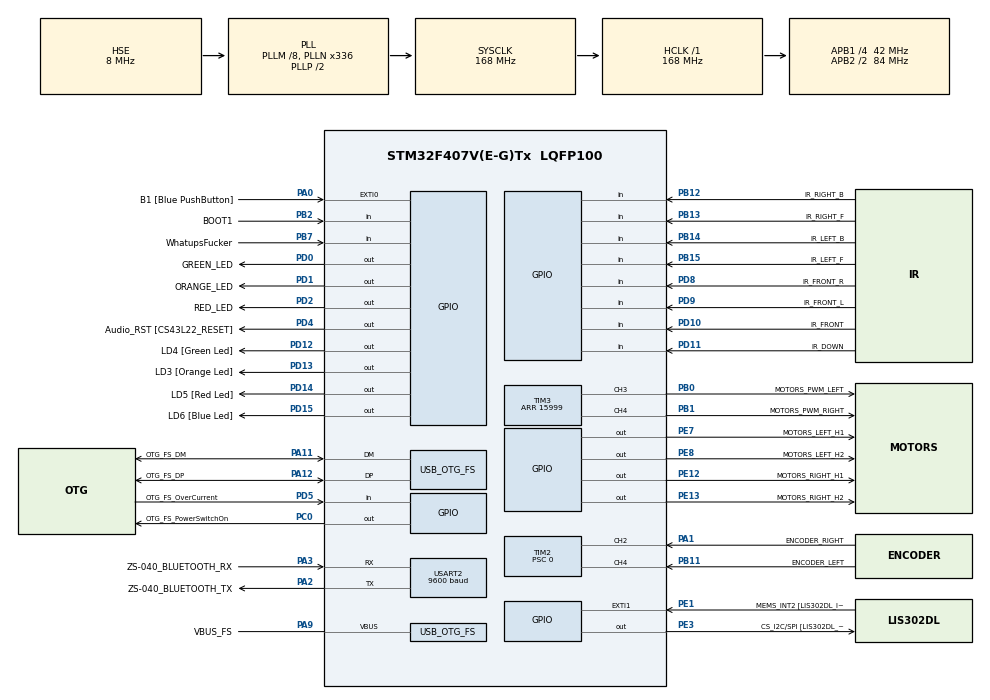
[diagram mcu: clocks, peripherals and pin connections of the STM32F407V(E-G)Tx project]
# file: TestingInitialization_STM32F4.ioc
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Dma.Request0=TIM2_CH2/CH4
Dma.TIM2_CH2/CH4.0.Direction=DMA_PERIPH_TO_MEMORY
Dma.TIM2_CH2/CH4.0.FIFOMode=DMA_FIFOMODE_DISABLE
Dma.TIM2_CH2/CH4.0.Instance=DMA1_Stream6
Dma.TIM2_CH2/CH4.0.MemDataAlignment=DMA_MDATAALIGN_WORD
Dma.TIM2_CH2/CH4.0.MemInc=DMA_MINC_ENABLE
Dma.TIM2_CH2/CH4.0.Mode=DMA_NORMAL
Dma.TIM2_CH2/CH4.0.PeriphDataAlignment=DMA_PDATAALIGN_WORD
Dma.TIM2_CH2/CH4.0.PeriphInc=DMA_PINC_DISABLE
Dma.TIM2_CH2/CH4.0.Priority=DMA_PRIORITY_LOW
FREERTOS.BinarySemaphores01=VCBinarySem01,Dynamic,NULL
FREERTOS.INCLUDE_vTaskDelayUntil=1
FREERTOS.Queues01=myCommandQueue01,2,uint32_t,0,Dynamic,NULL,NULL;myCommandQueue02,2,uint32_t,0,Dynamic,NULL,NULL
FREERTOS.Tasks01=defaultTask,0,128,StartDefaultTask,Default,NULL,Dynamic,NULL,NULL;vehicleMotion,1,128,StartVehicleMotionTask,Default,NULL,Dynamic,NULL,NULL;voiceCommand,1,128,StartVoiceCommandTask,Default,NULL,Dynamic,NULL,NULL;vehicleMotion_P,1,256,StartvehicleMotion_PIDControl,Default,NULL,Dynamic,NULL,NULL;statusLEDS,-1,128,StartstatusLEDSTask,Default,NULL,Dynamic,NULL,NULL;pidEncoders,-3,128,StartpidEncoderTask,Default,NULL,Dynamic,NULL,NULL
FREERTOS.configENABLE_FPU=1
FREERTOS.configQUEUE_REGISTRY_SIZE=2
FREERTOS.configUSE_COUNTING_SEMAPHORES=1
Mcu.Family=STM32F4
Mcu.Name=STM32F407V(E-G)Tx
Mcu.Package=LQFP100
NVIC.DMA1_Stream6_IRQn=true\:5\:0\:false\:false\:true\:true\:false\:true\:true
NVIC.PriorityGroup=NVIC_PRIORITYGROUP_4
NVIC.TIM1_UP_TIM10_IRQn=true\:15\:0\:false\:false\:true\:false\:false\:true\:true
NVIC.TIM2_IRQn=true\:5\:0\:false\:false\:true\:true\:true\:true\:true
NVIC.TimeBase=TIM1_UP_TIM10_IRQn
NVIC.TimeBaseIP=TIM1
NVIC.USART2_IRQn=true\:5\:0\:false\:false\:true\:true\:true\:true\:true
PA0-WKUP.GPIO_Label=B1 [Blue PushButton]
PA0-WKUP.GPIO_ModeDefaultEXTI=GPIO_MODE_EVT_RISING
PA0-WKUP.GPIO_PuPd=GPIO_NOPULL
PA0-WKUP.Signal=GPXTI0
PA1.GPIO_Label=ENCODER_RIGHT
PA1.Signal=S_TIM2_CH2
PA10.Signal=USB_OTG_FS_ID
PA11.GPIO_Label=OTG_FS_DM
PA11.GPIO_Mode=GPIO_MODE_AF_PP
PA11.GPIO_PuPd=GPIO_NOPULL
PA11.GPIO_Speed=GPIO_SPEED_FREQ_LOW
PA11.Mode=Host_Only
PA11.Signal=USB_OTG_FS_DM
PA12.GPIO_Label=OTG_FS_DP
PA12.GPIO_Mode=GPIO_MODE_AF_PP
PA12.GPIO_PuPd=GPIO_NOPULL
PA12.GPIO_Speed=GPIO_SPEED_FREQ_LOW
PA12.Mode=Host_Only
PA12.Signal=USB_OTG_FS_DP
PA13.GPIO_Label=SWDIO
PA13.Mode=JTAG_5_pins
PA13.Signal=SYS_JTMS-SWDIO
PA14.GPIO_Label=SWCLK
PA14.Mode=JTAG_5_pins
PA14.Signal=SYS_JTCK-SWCLK
PA15.Mode=JTAG_5_pins
PA15.Signal=SYS_JTDI
PA2.GPIO_Label=ZS-040_BLUETOOTH_TX
PA2.Mode=Asynchronous
PA2.Signal=USART2_TX
PA3.GPIO_Label=ZS-040_BLUETOOTH_RX
PA3.Mode=Asynchronous
PA3.Signal=USART2_RX
PA4.GPIO_Label=I2S3_WS [CS43L22_LRCK]
PA4.GPIO_Mode=GPIO_MODE_AF_PP
PA4.GPIO_PuPd=GPIO_NOPULL
PA4.GPIO_Speed=GPIO_SPEED_FREQ_LOW
PA4.Signal=I2S3_WS
PA5.GPIO_Label=SPI1_SCK [LIS302DL_SCL/SPC]
PA5.GPIO_Mode=GPIO_MODE_AF_PP
PA5.GPIO_PuPd=GPIO_NOPULL
PA5.GPIO_Speed=GPIO_SPEED_FREQ_LOW
PA5.Signal=SPI1_SCK
PA6.GPIO_Label=SPI1_MISO [LIS302DL_SDO]
PA6.GPIO_Mode=GPIO_MODE_AF_PP
PA6.GPIO_PuPd=GPIO_NOPULL
PA6.GPIO_Speed=GPIO_SPEED_FREQ_LOW
PA6.Signal=SPI1_MISO
PA7.GPIO_Label=SPI1_MOSI [LIS302DL_SDA/SDI/SDO]
PA7.GPIO_Mode=GPIO_MODE_AF_PP
PA7.GPIO_PuPd=GPIO_NOPULL
PA7.GPIO_Speed=GPIO_SPEED_FREQ_LOW
PA7.Signal=SPI1_MOSI
PA9.GPIO_Label=VBUS_FS
PA9.GPIO_Mode=GPIO_MODE_INPUT
PA9.GPIO_PuPd=GPIO_NOPULL
PA9.Mode=Activate_VBUS
PA9.Signal=USB_OTG_FS_VBUS
PB0.GPIO_Label=MOTORS_PWM_LEFT
PB0.Signal=S_TIM3_CH3
PB1.GPIO_Label=MOTORS_PWM_RIGHT
PB1.Signal=S_TIM3_CH4
PB10.GPIO_Label=CLK_IN [MP45DT02_CLK]
PB10.GPIO_Mode=GPIO_MODE_AF_PP
PB10.GPIO_PuPd=GPIO_NOPULL
PB10.GPIO_Speed=GPIO_SPEED_FREQ_LOW
PB10.Signal=I2S2_CK
PB11.GPIO_Label=ENCODER_LEFT
PB11.Signal=S_TIM2_CH4
PB12.GPIO_Label=IR_RIGHT_B
PB12.Signal=GPIO_Input
PB13.GPIO_Label=IR_RIGHT_F
PB13.Signal=GPIO_Input
PB14.GPIO_Label=IR_LEFT_B
PB14.Signal=GPIO_Input
PB15.GPIO_Label=IR_LEFT_F
PB15.Signal=GPIO_Input
PB2.GPIO_Label=BOOT1
PB2.GPIO_Mode=GPIO_MODE_INPUT
PB2.GPIO_PuPd=GPIO_NOPULL
PB2.Signal=GPIO_Input
PB3.GPIO_Label=SWO
PB3.Mode=JTAG_5_pins
PB3.Signal=SYS_JTDO-SWO
PB4.Mode=JTAG_5_pins
PB4.Signal=SYS_JTRST
PB6.GPIO_Label=Audio_SCL [CS43L22_SCL]
PB6.GPIO_Mode=GPIO_MODE_AF_OD
PB6.GPIO_Pu=GPIO_PULLUP
PB6.GPIO_PuPd=GPIO_NOPULL
PB6.GPIO_Speed=GPIO_SPEED_FREQ_LOW
PB6.Signal=I2C1_SCL
PB7.GPIO_Label=WhatupsFucker
PB7.GPIO_PuPd=GPIO_PULLUP
PB7.Signal=GPIO_Input
PB9.GPIO_Label=Audio_SDA [CS43L22_SDA]
PB9.GPIO_Mode=GPIO_MODE_AF_OD
PB9.GPIO_Pu=GPIO_PULLUP
PB9.GPIO_PuPd=GPIO_NOPULL
PB9.GPIO_Speed=GPIO_SPEED_FREQ_LOW
PB9.Signal=I2C1_SDA
PC0.GPIO_Label=OTG_FS_PowerSwitchOn
PC0.GPIO_PuPd=GPIO_NOPULL
PC0.GPIO_Speed=GPIO_SPEED_FREQ_LOW
PC0.PinState=GPIO_PIN_SET
PC0.Signal=GPIO_Output
PC10.GPIO_Label=I2S3_SCK [CS43L22_SCLK]
PC10.GPIO_Mode=GPIO_MODE_AF_PP
PC10.GPIO_PuPd=GPIO_NOPULL
PC10.GPIO_Speed=GPIO_SPEED_FREQ_LOW
PC10.Signal=I2S3_CK
PC12.GPIO_Label=I2S3_SD [CS43L22_SDIN]
PC12.GPIO_Mode=GPIO_MODE_AF_PP
PC12.GPIO_PuPd=GPIO_NOPULL
PC12.GPIO_Speed=GPIO_SPEED_FREQ_LOW
PC12.Signal=I2S3_SD
PC14-OSC32_IN.GPIO_Label=PC14-OSC32_IN
PC14-OSC32_IN.Mode=LSE-External-Oscillator
PC14-OSC32_IN.Signal=RCC_OSC32_IN
PC15-OSC32_OUT.GPIO_Label=PC15-OSC32_OUT
PC15-OSC32_OUT.Mode=LSE-External-Oscillator
PC15-OSC32_OUT.Signal=RCC_OSC32_OUT
PC3.GPIO_Label=PDM_OUT [MP45DT02_DOUT]
PC3.GPIO_Mode=GPIO_MODE_AF_PP
PC3.GPIO_PuPd=GPIO_NOPULL
PC3.GPIO_Speed=GPIO_SPEED_FREQ_LOW
PC3.Signal=I2S2_SD
PC7.GPIO_Label=I2S3_MCK [CS43L22_MCLK]
PC7.GPIO_Mode=GPIO_MODE_AF_PP
PC7.GPIO_PuPd=GPIO_NOPULL
PC7.GPIO_Speed=GPIO_SPEED_FREQ_LOW
PC7.Signal=I2S3_MCK
PD0.GPIO_Label=GREEN_LED
PD0.PinState=GPIO_PIN_RESET
PD0.Signal=GPIO_Output
PD1.GPIO_Label=ORANGE_LED
PD1.Signal=GPIO_Output
PD10.GPIO_Label=IR_FRONT
PD10.Signal=GPIO_Input
PD11.GPIO_Label=IR_DOWN
PD11.Signal=GPIO_Input
PD12.GPIO_Label=LD4 [Green Led]
PD12.GPIO_PuPd=GPIO_NOPULL
PD12.GPIO_Speed=GPIO_SPEED_FREQ_LOW
PD12.Signal=GPIO_Output
PD13.GPIO_Label=LD3 [Orange Led]
PD13.GPIO_PuPd=GPIO_NOPULL
PD13.GPIO_Speed=GPIO_SPEED_FREQ_LOW
PD13.Signal=GPIO_Output
PD14.GPIO_Label=LD5 [Red Led]
PD14.GPIO_PuPd=GPIO_NOPULL
PD14.GPIO_Speed=GPIO_SPEED_FREQ_LOW
PD14.Signal=GPIO_Output
PD15.GPIO_Label=LD6 [Blue Led]
PD15.GPIO_PuPd=GPIO_NOPULL
PD15.GPIO_Speed=GPIO_SPEED_FREQ_LOW
PD15.Signal=GPIO_Output
PD2.GPIO_Label=RED_LED
PD2.Signal=GPIO_Output
PD4.GPIO_Label=Audio_RST [CS43L22_RESET]
PD4.GPIO_PuPd=GPIO_NOPULL
PD4.GPIO_Speed=GPIO_SPEED_FREQ_LOW
PD4.Signal=GPIO_Output
PD5.GPIO_Label=OTG_FS_OverCurrent
PD5.GPIO_Mode=GPIO_MODE_INPUT
PD5.GPIO_PuPd=GPIO_NOPULL
PD5.Signal=GPIO_Input
PD8.GPIO_Label=IR_FRONT_R
PD8.Signal=GPIO_Input
PD9.GPIO_Label=IR_FRONT_L
PD9.Signal=GPIO_Input
PE1.GPIO_Label=MEMS_INT2 [LIS302DL_INT2]
PE1.GPIO_ModeDefaultEXTI=GPIO_MODE_EVT_RISING
PE1.GPIO_PuPd=GPIO_NOPULL
PE1.Signal=GPXTI1
PE12.GPIO_Label=MOTORS_RIGHT_H1
PE12.GPIO_PuPd=GPIO_PULLDOWN
PE12.Signal=GPIO_Output
PE13.GPIO_Label=MOTORS_RIGHT_H2
PE13.GPIO_PuPd=GPIO_PULLDOWN
PE13.Signal=GPIO_Output
PE3.GPIO_Label=CS_I2C/SPI [LIS302DL_CS_I2C/SPI]
PE3.GPIO_PuPd=GPIO_NOPULL
PE3.GPIO_Speed=GPIO_SPEED_FREQ_LOW
PE3.Signal=GPIO_Output
PE7.GPIO_Label=MOTORS_LEFT_H1
PE7.GPIO_PuPd=GPIO_PULLDOWN
PE7.GPIO_Speed=GPIO_SPEED_FREQ_MEDIUM
PE7.PinState=GPIO_PIN_RESET
PE7.Signal=GPIO_Output
PE8.GPIO_Label=MOTORS_LEFT_H2
PE8.GPIO_PuPd=GPIO_PULLDOWN
PE8.GPIO_Speed=GPIO_SPEED_FREQ_MEDIUM
PE8.PinState=GPIO_PIN_RESET
PE8.Signal=GPIO_Output
PH0-OSC_IN.GPIO_Label=PH0-OSC_IN
PH0-OSC_IN.Mode=HSE-External-Oscillator
PH0-OSC_IN.Signal=RCC_OSC_IN
PH1-OSC_OUT.GPIO_Label=PH1-OSC_OUT
PH1-OSC_OUT.Mode=HSE-External-Oscillator
PH1-OSC_OUT.Signal=RCC_OSC_OUT
ProjectManager.HeapSize=0x200
ProjectManager.StackSize=0x400
ProjectManager.TargetToolchain=EWARM V8.50
RCC.48MHZClocksFreq_Value=48000000
RCC.AHBFreq_Value=168000000
RCC.APB1CLKDivider=RCC_HCLK_DIV4
RCC.APB1Freq_Value=42000000
RCC.APB1TimFreq_Value=84000000
RCC.APB2CLKDivider=RCC_HCLK_DIV2
RCC.APB2Freq_Value=84000000
RCC.APB2TimFreq_Value=168000000
RCC.CortexFreq_Value=168000000
RCC.HCLKFreq_Value=168000000
RCC.HSE_VALUE=8000000
RCC.HSI_VALUE=16000000
RCC.PLLM=8
RCC.PLLN=336
RCC.PLLQ=7
RCC.SYSCLKFreq_VALUE=168000000
RCC.SYSCLKSource=RCC_SYSCLKSOURCE_PLLCLK
RCC.VCOOutputFreq_Value=336000000
SH.S_TIM2_CH2.0=TIM2_CH2,Input_Capture2_from_TI2
SH.S_TIM2_CH4.0=TIM2_CH4,Input_Capture4_from_TI4
SH.S_TIM3_CH3.0=TIM3_CH3,PWM Generation3 CH3
SH.S_TIM3_CH4.0=TIM3_CH4,PWM Generation4 CH4
TIM2.AutoReloadPreload=TIM_AUTORELOAD_PRELOAD_DISABLE
TIM2.Channel-Input_Capture2_from_TI2=TIM_CHANNEL_2
TIM2.Channel-Input_Capture4_from_TI4=TIM_CHANNEL_4
TIM2.Prescaler=0
TIM3.Channel-PWM\ Generation3\ CH3=TIM_CHANNEL_3
TIM3.Channel-PWM\ Generation4\ CH4=TIM_CHANNEL_4
TIM3.OCMode_PWM-PWM\ Generation3\ CH3=TIM_OCMODE_PWM2
TIM3.OCMode_PWM-PWM\ Generation4\ CH4=TIM_OCMODE_PWM2
TIM3.OCPolarity_3=TIM_OCPOLARITY_LOW
TIM3.OCPolarity_4=TIM_OCPOLARITY_LOW
TIM3.Period=15999
TIM3.TIM_MasterOutputTrigger=TIM_TRGO_OC1
USART2.BaudRate=9600
USART2.Parity=PARITY_NONE
USART2.VirtualMode=VM_ASYNC
USART2.WordLength=WORDLENGTH_8B
USB_OTG_FS.VirtualMode=Host_Only
USB_OTG_FS.phy_itface=HCD_PHY_EMBEDDED
VP_FREERTOS_VS_CMSIS_V1.Mode=CMSIS_V1
VP_SYS_VS_tim1.Mode=TIM1
VP_TIM2_VS_ClockSourceINT.Mode=Internal
VP_TIM3_VS_ClockSourceINT.Mode=Internal
board=STM32F407G-DISC1

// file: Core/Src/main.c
/* USER CODE BEGIN Header */
/**
  ******************************************************************************
  * @file           : main.c
  * @brief          : Main program body
  ******************************************************************************
  * @attention
  *
  * Copyright (c) 2022 STMicroelectronics.
  * All rights reserved.
  *
  * This software is licensed under terms that can be found in the LICENSE file
  * in the root directory of this software component.
  * If no LICENSE file comes with this software, it is provided AS-IS.
  *
  ******************************************************************************
  */
/* USER CODE END Header */
#include "main.h"
#include "cmsis_os.h"
#include "dma.h"
#include "tim.h"
#include "usart.h"
#include "usb_otg.h"
#include "gpio.h"

void SystemClock_Config(void);
void MX_FREERTOS_Init(void);

int main(void)
{

  /* MCU Configuration--------------------------------------------------------*/

  /* Reset of all peripherals, Initializes the Flash interface and the Systick. */
  HAL_Init();

  /* Configure the system clock */
  SystemClock_Config();

  /* Initialize all configured peripherals */
  MX_GPIO_Init();
  MX_USB_OTG_FS_HCD_Init();
  MX_TIM3_Init();
  MX_DMA_Init();
  MX_TIM2_Init();
  MX_USART2_UART_Init();
  /* USER CODE BEGIN 2 */

  // Motor PWM timer starts
  // lEFT MOTORS
  HAL_TIM_PWM_Start(&htim3,TIM_CHANNEL_3);
  // RIGHT MOTORS
  HAL_TIM_PWM_Start(&htim3,TIM_CHANNEL_4);

  /* USER CODE END 2 */

  /* Call init function for freertos objects (in freertos.c) */
  MX_FREERTOS_Init();

  /* Start scheduler */
  osKernelStart();

  /* We should never get here as control is now taken by the scheduler */
  /* Infinite loop */
  while (1)
  {

  }
}

void SystemClock_Config(void)
{
  RCC_OscInitTypeDef RCC_OscInitStruct = {0};
  RCC_ClkInitTypeDef RCC_ClkInitStruct = {0};

  /** Configure the main internal regulator output voltage
  */
  __HAL_RCC_PWR_CLK_ENABLE();
  __HAL_PWR_VOLTAGESCALING_CONFIG(PWR_REGULATOR_VOLTAGE_SCALE1);

  /** Initializes the RCC Oscillators according to the specified parameters
  * in the RCC_OscInitTypeDef structure.
  */
  RCC_OscInitStruct.OscillatorType = RCC_OSCILLATORTYPE_HSE;
  RCC_OscInitStruct.HSEState = RCC_HSE_ON;
  RCC_OscInitStruct.PLL.PLLState = RCC_PLL_ON;
  RCC_OscInitStruct.PLL.PLLSource = RCC_PLLSOURCE_HSE;
  RCC_OscInitStruct.PLL.PLLM = 8;
  RCC_OscInitStruct.PLL.PLLN = 336;
  RCC_OscInitStruct.PLL.PLLP = RCC_PLLP_DIV2;
  RCC_OscInitStruct.PLL.PLLQ = 7;
  if (HAL_RCC_OscConfig(&RCC_OscInitStruct) != HAL_OK)
  {
    Error_Handler();
  }

  /** Initializes the CPU, AHB and APB buses clocks
  */
  RCC_ClkInitStruct.ClockType = RCC_CLOCKTYPE_HCLK|RCC_CLOCKTYPE_SYSCLK
                              |RCC_CLOCKTYPE_PCLK1|RCC_CLOCKTYPE_PCLK2;
  RCC_ClkInitStruct.SYSCLKSource = RCC_SYSCLKSOURCE_PLLCLK;
  RCC_ClkInitStruct.AHBCLKDivider = RCC_SYSCLK_DIV1;
  RCC_ClkInitStruct.APB1CLKDivider = RCC_HCLK_DIV4;
  RCC_ClkInitStruct.APB2CLKDivider = RCC_HCLK_DIV2;

  if (HAL_RCC_ClockConfig(&RCC_ClkInitStruct, FLASH_LATENCY_5) != HAL_OK)
  {
    Error_Handler();
  }
}

void HAL_TIM_PeriodElapsedCallback(TIM_HandleTypeDef *htim)
{
  if (htim->Instance == TIM1) {
    HAL_IncTick();
  }
}

void Error_Handler(void)
{
  __disable_irq();
  while (1)
  {
  }
}

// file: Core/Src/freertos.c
/* USER CODE BEGIN Header */
/**
  ******************************************************************************
  * File Name          : freertos.c
  * Description        : Code for freertos applications
  ******************************************************************************
  * @attention
  *
  * Copyright (c) 2022 STMicroelectronics.
  * All rights reserved.
  *
  * This software is licensed under terms that can be found in the LICENSE file
  * in the root directory of this software component.
  * If no LICENSE file comes with this software, it is provided AS-IS.
  *
  ******************************************************************************
  */
/* USER CODE END Header */

#include "FreeRTOS.h"
#include "task.h"
#include "main.h"
#include "cmsis_os.h"

/* USER CODE BEGIN Includes */
#include "tim.h"
#include "usart.h"
#include <stdbool.h>
#include <stdio.h>
/* USER CODE END Includes */

/* USER CODE BEGIN PD */

// led system status delay times
#define NORMAL_LED_DELAY_TIME   2000
#define FAULT_LED_DELAY_TIME    1000
#define AI_LED_DELAY_TIME       1000

// definition of vehicles speeds in meters/sec
// *NOTE!! Ensure these values < max speed
#define SLOW_VEHICLE_SPEED      6
#define MEDIUM_VEHICLE_SPEED    8
#define FAST_VEHICLE_SPEED      10

// stuff for photoelectric encoder sensors
#define TIMCLOCK                84000000
#define PSCALAR                 0
#define numval                  10
#define SENSOR_SAMPLING_TIME    50

/* USER CODE END PD */

/* USER CODE BEGIN PM */
#define MIN(a,b) ((a) < (b) ? (a) : (b))
/* USER CODE END PM */

/* USER CODE BEGIN Variables */
bool front_sensor_triggered = false;
bool fall_sensor_triggered = false;
bool left_sensor_triggered = false;
bool right_sensor_triggered = false;
bool AI_mutex = false;
bool halt_AI = false;
sys_state system_status = NORMAL;
int veh_direction = 0;

vehicle_direction vehicle_motion_dir = HALT;
obj_detection_state obj_detect_state = IDLE;
motors leftmotors;
motors rightmotors;

command_HandleTypeDef command;
command_HandleTypeDef * ptcommand;
command_HandleTypeDef AIcommand;

uint16_t default_rot_pulse      = 15999;
uint16_t rot_time               = 400;

float wheel_radius              = 0.033;

// DMA and rpm sensor stuff
uint8_t rightriseCaptured = 0;
uint8_t leftriseCaptured = 0;
uint32_t riseData[numval];
uint32_t left_riseData[numval];
float right_frequency = 0;
float left_frequency = 0;
float right_encoder_risetime = 0;
float left_encoder_risetime = 0;
int8_t isMeasured = 0;

// PID stuff
float MEA_VAL_rightmotors = 0.0;
float MEA_VAL_leftmotors = 0.0;
bool message_sent = false;

// VC stuff
bool VCmessage_received = false;
uint8_t data_receive[12];

osThreadId ir_sensor_TaskHandle;
osThreadId ir_sensor_state_TaskHandle;
/* USER CODE END Variables */
osThreadId defaultTaskHandle;
osThreadId vehicleMotionHandle;
osThreadId voiceCommandHandle;
osThreadId vehicleMotion_PHandle;
osThreadId statusLEDSHandle;
osThreadId pidEncodersHandle;
osMessageQId myCommandQueue01Handle;
osMessageQId myCommandQueue02Handle;
osSemaphoreId VCBinarySem01Handle;

/* USER CODE BEGIN FunctionPrototypes */
void set_motor_speed(motors * motor_set, uint16_t new_pulse);
void halt_motors(motors * motor_set);
void forward_motors(motors * motor_set);
void reverse_motors(motors * motor_set);
void set_motors_direction(motors * motor_set,direction dir);
void forward_vehicle(motors * motors_set1, motors * motors_set2);
void reverse_vehicle(motors * motors_set1, motors * motors_set2);
void halt_vehicle(motors * motors_set1, motors * motors_set2);
void rotate_right_vehicle(motors * motors_set1, motors * motors_set2);
void rotate_left_vehicle(motors * motors_set1, motors * motors_set2);
void set_vehicle_motion(motors * motors_set1, motors * motors_set2, vehicle_direction dir);
void set_vehicle_speed(motors * motors_set1, motors * motors_set2, uint16_t pulse);

float PID_controller(float REF_Val, float MEA_Val, float gain_arr[],
                     float * I_error, float MEA_Val_previous, float sample_delta);
float read_RPMSensor(void);
float controller_Saturation(float u, float u_sat[]);
void set_motorDuty(float u, float voltage_range[], motors * motors_set);
void read_EncoderSensors(float * left, float * right);

void leds_flash(led_color color, uint32_t pulses,uint32_t delay);

void ir_sensor_detection(void const * argument);
void ir_sensor_state_machine(void const* argument);
/* USER CODE END FunctionPrototypes */

void StartDefaultTask(void const * argument);
void StartVehicleMotionTask(void const * argument);
void StartVoiceCommandTask(void const * argument);
void StartvehicleMotion_PIDControl(void const * argument);
void StartstatusLEDSTask(void const * argument);
void StartpidEncoderTask(void const * argument);

void MX_FREERTOS_Init(void); /* (MISRA C 2004 rule 8.1) */

/* GetIdleTaskMemory prototype (linked to static allocation support) */
void vApplicationGetIdleTaskMemory( StaticTask_t **ppxIdleTaskTCBBuffer, StackType_t **ppxIdleTaskStackBuffer, uint32_t *pulIdleTaskStackSize );

/* USER CODE BEGIN GET_IDLE_TASK_MEMORY */
static StaticTask_t xIdleTaskTCBBuffer;
static StackType_t xIdleStack[configMINIMAL_STACK_SIZE];

void vApplicationGetIdleTaskMemory( StaticTask_t **ppxIdleTaskTCBBuffer, StackType_t **ppxIdleTaskStackBuffer, uint32_t *pulIdleTaskStackSize )
{
  *ppxIdleTaskTCBBuffer = &xIdleTaskTCBBuffer;
  *ppxIdleTaskStackBuffer = &xIdleStack[0];
  *pulIdleTaskStackSize = configMINIMAL_STACK_SIZE;
  /* place for user code */
}
/* USER CODE END GET_IDLE_TASK_MEMORY */

void MX_FREERTOS_Init(void) {
  /* USER CODE BEGIN Init */
  leftmotors.htim = &htim3;
  leftmotors.motor_Channel = TIM_CHANNEL_3;
  leftmotors.pulse = 0;
  leftmotors.motors_dir = HALTED;
  leftmotors.motors_GPIOx = GPIOE;
  leftmotors.H1_GPIO_Pin = MOTORS_LEFT_H1_Pin;
  leftmotors.H2_GPIO_Pin = MOTORS_LEFT_H2_Pin;

  rightmotors.htim = &htim3;
  rightmotors.motor_Channel = TIM_CHANNEL_4;
  rightmotors.pulse = 0;
  rightmotors.motors_dir = HALTED;
  rightmotors.motors_GPIOx = GPIOE;
  rightmotors.H1_GPIO_Pin = MOTORS_RIGHT_H1_Pin;
  rightmotors.H2_GPIO_Pin = MOTORS_RIGHT_H2_Pin;

  /* TIM2 Channel 2 is set to rising edge, so it will store the data in 'riseData' */
  HAL_TIM_IC_Start_DMA(&htim2, TIM_CHANNEL_2, riseData, numval);

  /* TIM2 Channel 4 is set to rising edge, so it will store the data in 'left_riseData' */
  HAL_TIM_IC_Start_DMA(&htim2, TIM_CHANNEL_4, left_riseData, numval);

  /* USER CODE END Init */

  /* Create the semaphores(s) */
  /* definition and creation of VCBinarySem01 */
  osSemaphoreDef(VCBinarySem01);
  VCBinarySem01Handle = osSemaphoreCreate(osSemaphore(VCBinarySem01), 1);

  /* Create the queue(s) */
  /* definition and creation of myCommandQueue01 */
  osMessageQDef(myCommandQueue01, 2, uint32_t);
  myCommandQueue01Handle = osMessageCreate(osMessageQ(myCommandQueue01), NULL);

  /* definition and creation of myCommandQueue02 */
  osMessageQDef(myCommandQueue02, 2, uint32_t);
  myCommandQueue02Handle = osMessageCreate(osMessageQ(myCommandQueue02), NULL);

  /* USER CODE BEGIN RTOS_QUEUES */
  osThreadDef(IR_sensor_checking, ir_sensor_detection, osPriorityNormal, 0, 128);
  ir_sensor_TaskHandle = osThreadCreate(osThread(IR_sensor_checking),NULL);
  osThreadDef(IR_sensor_state_changes, ir_sensor_state_machine, osPriorityNormal, 0, 128);
  ir_sensor_TaskHandle = osThreadCreate(osThread(IR_sensor_state_changes),NULL);
  /* add queues, ... */
  /* USER CODE END RTOS_QUEUES */

  /* Create the thread(s) */
  /* definition and creation of defaultTask */
  osThreadDef(defaultTask, StartDefaultTask, osPriorityNormal, 0, 128);
  defaultTaskHandle = osThreadCreate(osThread(defaultTask), NULL);

  /* definition and creation of vehicleMotion */
  osThreadDef(vehicleMotion, StartVehicleMotionTask, osPriorityAboveNormal, 0, 128);
  vehicleMotionHandle = osThreadCreate(osThread(vehicleMotion), NULL);

  /* definition and creation of voiceCommand */
  osThreadDef(voiceCommand, StartVoiceCommandTask, osPriorityAboveNormal, 0, 128);
  voiceCommandHandle = osThreadCreate(osThread(voiceCommand), NULL);

  /* definition and creation of vehicleMotion_P */
  osThreadDef(vehicleMotion_P, StartvehicleMotion_PIDControl, osPriorityAboveNormal, 0, 256);
  vehicleMotion_PHandle = osThreadCreate(osThread(vehicleMotion_P), NULL);

  /* definition and creation of statusLEDS */
  osThreadDef(statusLEDS, StartstatusLEDSTask, osPriorityBelowNormal, 0, 128);
  statusLEDSHandle = osThreadCreate(osThread(statusLEDS), NULL);

  /* definition and creation of pidEncoders */
  osThreadDef(pidEncoders, StartpidEncoderTask, osPriorityIdle, 0, 128);
  pidEncodersHandle = osThreadCreate(osThread(pidEncoders), NULL);

}

void StartDefaultTask(void const * argument)
{
  /* USER CODE BEGIN StartDefaultTask */
  /* Infinite loop */
  /* Acts as the IDLE task. DONT TOUCH */
  for(;;)
  {
    osDelay(1);
  }
  /* USER CODE END StartDefaultTask */
}

void StartVehicleMotionTask(void const * argument)
{
  /* USER CODE BEGIN StartVehicleMotionTask */
  /* Infinite loop */

  osEvent message_event;
  command_HandleTypeDef * ptcommand_message;
  vehicle_direction command_veh_direction;

  for(;;)
  {

    // task only executes if message is received
    message_event = osMessageGet(myCommandQueue01Handle,osWaitForever);
    if(message_event.status == osEventMessage){
      // message received is pointer to struct not struct itself
      ptcommand_message = (command_HandleTypeDef *)message_event.value.v;

      command_veh_direction = ptcommand_message->command_direction;

      // speed and distance commands only affect forward/reverse motion
      if((command_veh_direction == MOVE_FORWARD) || \
        (command_veh_direction == MOVE_REVERSE))
      {
        // set speed to zero so that PID control starts from zero
        set_vehicle_speed(&leftmotors,&rightmotors,0);

        // send speed/distance commands to task
        osMessagePut(myCommandQueue02Handle,message_event.value.v,10);
        message_sent = true;
      }

      set_vehicle_motion(&leftmotors,&rightmotors, command_veh_direction);

    }

    osDelay(1);
  }
  /* USER CODE END StartVehicleMotionTask */
}

void StartVoiceCommandTask(void const * argument)
{
  /* USER CODE BEGIN StartVoiceCommandTask */
  /* Infinite loop */

  // receive first VC message. the rest are received from UART callback
  if(HAL_UART_Receive_IT(&huart2,data_receive,sizeof(data_receive)/sizeof(data_receive[0])) == HAL_OK){
    VCmessage_received = true;
  }

  for(;;)
  {

    if(VCmessage_received)
    {

      switch(system_status){
      case NORMAL:
        // decode bluetooth/UART message into command type struct
        ptcommand = (command_HandleTypeDef *)data_receive;

        command.command_direction       = ptcommand->command_direction;
        command.command_distance        = ptcommand->command_distance;
        command.command_speed           = ptcommand->command_speed;

        // send pointer to struct not struct itself
        osMessagePut(myCommandQueue01Handle, (uint32_t)ptcommand, 10);

        // indicate VC successfully received
        leds_flash(GREEN,2,100);

        break;
      case AI:
        // decode message into struct
        ptcommand = (command_HandleTypeDef *)data_receive;
        command.command_direction       = ptcommand->command_direction;
        command.command_distance        = ptcommand->command_distance;
        command.command_speed           = ptcommand->command_speed;

        // send pointer to struct not struct itself
        if(command.command_direction == HALT && AI_mutex== false)
        {
          AI_mutex = true;
          osMessagePut(myCommandQueue01Handle, (uint32_t)ptcommand, 10);
          system_status = NORMAL;
          obj_detect_state = IDLE;
          veh_direction = 0;
          AI_mutex = false;
        }
        break;
      case FAULT:
        leds_flash(RED,3,100);
        break;
      default:
        leds_flash(RED,3,100);
        break;
      }

      VCmessage_received = false;
    }
    else {
      // do nothing. no message received
    }

    osDelay(10);
  }
  /* USER CODE END StartVoiceCommandTask */
}

void StartvehicleMotion_PIDControl(void const * argument)
{
  /* USER CODE BEGIN StartvehicleMotion_PIDControl */
  /* Infinite loop */

  // Queue message and command stuff
  osEvent message_event;
  command_HandleTypeDef * ptcommand_message;
  float loc_command_distance;
  vehicle_speed loc_command_speed;

  // PID Control and distance tracking stuff
  bool track_distance = false;
  float linear_velocity = 0.0;
  float REF_VAL = (float)SLOW_VEHICLE_SPEED;    // desired vehicle speed
  float PREVIOUS_REF_VAL = REF_VAL;
  float distance_travelled = 0.0;
  float gain_array[] = {1.0,10.0,0.0,2.5};       // PID gains [Kff, Kp, Ki, Kd]
  float delta_t = (float)SENSOR_SAMPLING_TIME;  // sensor sampling rate in ms
  float sat_limits[] = {0.0,12.0};              // min and max voltages to motors
  float I_error_leftmotors = 0.0;               // integral error
  float I_error_rightmotors = 0.0;
  float MEA_VAL_previous_leftmotors = 0.0;      // previous measured rotation speed
  float MEA_VAL_previous_rightmotors = 0.0;
  float pid_val_leftmotors;                     // total PID value
  float pid_val_rightmotors;
  float control_input_leftmotors = 0.0;         // signal to motor driver board
  float control_input_rightmotors = 0.0;

  for(;;)
  {

    if(message_sent){
      message_event = osMessageGet(myCommandQueue02Handle,osWaitForever);
      if(message_event.status == osEventMessage){
        // everytime we get a new command we re-iniatilize everything.
        // the system is currently set up to receive a new command at any point
        // in time even when it hasnt finished executing the previous command

        // get pointer message of command struct
        ptcommand_message = (command_HandleTypeDef *)message_event.value.v;

        loc_command_distance = ptcommand_message->command_distance;
        loc_command_speed = ptcommand_message->command_speed;
        //convert command distance to units of meters
        loc_command_distance = loc_command_distance / 3.281;

        distance_travelled = 0.0;
        // command distance default is 0.0 if not specified by VC
        if(loc_command_distance != 0.0){
          track_distance = true;
        }
        else {
          track_distance = false;
        }

        I_error_leftmotors = 0.0;
        I_error_rightmotors = 0.0;
        MEA_VAL_leftmotors = 0.0;
        MEA_VAL_rightmotors = 0.0;
        MEA_VAL_previous_leftmotors = 0.0;
        MEA_VAL_previous_rightmotors = 0.0;

        switch(loc_command_speed){
        case INVALID_SPEED:
          REF_VAL = PREVIOUS_REF_VAL;
          break;
        case SLOW:
          REF_VAL = SLOW_VEHICLE_SPEED;
          PREVIOUS_REF_VAL = REF_VAL;
          break;
        case MEDIUM:
          REF_VAL = MEDIUM_VEHICLE_SPEED;
          PREVIOUS_REF_VAL = REF_VAL;
          break;
        case FAST:
          REF_VAL = FAST_VEHICLE_SPEED;
          PREVIOUS_REF_VAL = REF_VAL;
          break;
        case NO_UPDATE:
          REF_VAL = PREVIOUS_REF_VAL;
        default:
          REF_VAL = PREVIOUS_REF_VAL;
        }
      }
      else if((message_event.status == osErrorValue) || (message_event.status == osErrorOS))
      {
        // some sort of error handling
        set_vehicle_motion(&leftmotors,&rightmotors,HALT);
        system_status = FAULT;
        leds_flash(RED,3,50);
      }

      message_sent = false;
    }

    if(((command.command_direction == MOVE_FORWARD) || (command.command_direction == \
      MOVE_REVERSE)) && (system_status != FAULT)){

      // do PID control stuff here where command vehicle speed is input
      // ** left encoder sensor currently not working. **

//      pid_val_leftmotors = PID_controller(REF_VAL,MEA_VAL_leftmotors,gain_array,\
//        &I_error_leftmotors,MEA_VAL_previous_leftmotors,delta_t);
      pid_val_rightmotors = PID_controller(REF_VAL,MEA_VAL_rightmotors,gain_array,\
        &I_error_rightmotors,MEA_VAL_previous_rightmotors,delta_t);

      MEA_VAL_previous_rightmotors = MEA_VAL_rightmotors;
//      MEA_VAL_previous_leftmotors = MEA_VAL_leftmotors;

//      control_input_leftmotors = REF_VAL * gain_array[0] + pid_val_leftmotors;
      control_input_rightmotors = REF_VAL * gain_array[0] + pid_val_rightmotors;

//      control_input_leftmotors = controller_Saturation(control_input_leftmotors,sat_limits);
      control_input_rightmotors = controller_Saturation(control_input_rightmotors,sat_limits);

//      set_motorDuty(control_input_leftmotors,sat_limits,&leftmotors);
      set_motorDuty(control_input_rightmotors,sat_limits,&leftmotors);
      set_motorDuty(control_input_rightmotors,sat_limits,&rightmotors);
    }

    if(track_distance){
      // just go off one RPM sensor reading
      linear_velocity = MEA_VAL_rightmotors * wheel_radius;
      distance_travelled = distance_travelled + (linear_velocity * (delta_t/1000));

      if(distance_travelled >= loc_command_distance){
        set_vehicle_motion(&leftmotors,&rightmotors,HALT);
        track_distance = false;
      }

    }

    osDelay(SENSOR_SAMPLING_TIME);
  }
  /* USER CODE END StartvehicleMotion_PIDControl */
}

void StartstatusLEDSTask(void const * argument)
{
  /* USER CODE BEGIN StartstatusLEDSTask */
  /* Infinite loop */

  for(;;)
  {

    switch(system_status){
    case FAULT:
      leds_flash(RED,1,FAULT_LED_DELAY_TIME);
      break;
    case NORMAL:
      leds_flash(GREEN,1,NORMAL_LED_DELAY_TIME);
      break;
    case AI:
      leds_flash(ORANGE,1,AI_LED_DELAY_TIME);
      break;
    default:
      leds_flash(RED,1,FAULT_LED_DELAY_TIME);
      break;
    }

    // Actual osDelay specified by LED delay times
    osDelay(1);
  }
  /* USER CODE END StartstatusLEDSTask */
}

void StartpidEncoderTask(void const * argument)
{
  /* USER CODE BEGIN StartpidEncoderTask */
  /* Infinite loop */

  for(;;)
  {
    if (isMeasured)
    {
      TIM2->CNT = 0;

      HAL_TIM_IC_Start_DMA(&htim2, TIM_CHANNEL_2, riseData, numval);

      HAL_TIM_IC_Start_DMA(&htim2, TIM_CHANNEL_4, left_riseData, numval);

      isMeasured = 0;

      read_EncoderSensors(&MEA_VAL_leftmotors,&MEA_VAL_rightmotors);
    }

    osDelay(SENSOR_SAMPLING_TIME);
  }
  /* USER CODE END StartpidEncoderTask */
}

/* USER CODE BEGIN Application */
void ir_sensor_detection(void const * argument)
{
  for(;;)
  {
    fall_sensor_triggered = HAL_GPIO_ReadPin(IR_DOWN_GPIO_Port, IR_DOWN_Pin);
    front_sensor_triggered = fall_sensor_triggered
                            | (HAL_GPIO_ReadPin(IR_FRONT_GPIO_Port, IR_FRONT_Pin) == false)
                            | (HAL_GPIO_ReadPin(IR_FRONT_L_GPIO_Port, IR_FRONT_L_Pin) == false)
                            | (HAL_GPIO_ReadPin(IR_FRONT_R_GPIO_Port, IR_FRONT_R_Pin) == false);
    left_sensor_triggered = (HAL_GPIO_ReadPin(IR_LEFT_F_GPIO_Port, IR_LEFT_F_Pin) == false)
                            | (HAL_GPIO_ReadPin(IR_LEFT_B_GPIO_Port, IR_LEFT_B_Pin) == false);
    right_sensor_triggered = (HAL_GPIO_ReadPin(IR_RIGHT_F_GPIO_Port, IR_RIGHT_F_Pin) == false)
                            | (HAL_GPIO_ReadPin(IR_RIGHT_B_GPIO_Port, IR_RIGHT_B_Pin) == false);

    osDelay(10);
  }
}

void ir_sensor_state_machine(void const * argument)
{
  for(;;)
  {
    // if we are rotating then skip the object detection state until we aren't rotating
    if(AI_mutex == false)
    {
      AI_mutex = true;
      switch(obj_detect_state)
      {
        case IDLE:
          veh_direction = 0;
          if(front_sensor_triggered && (leftmotors.motors_dir != HALTED && rightmotors.motors_dir != HALTED))
          {
            system_status = AI;
            if(fall_sensor_triggered)
            {
              set_vehicle_motion(&leftmotors,&rightmotors,HALT);
            } else {
              obj_detect_state = OBJECT_AHEAD;
            }
          } else
          {
            system_status = NORMAL;
          }
          AI_mutex = false;
          osDelay(10);
          break;
        case OBJECT_AHEAD:
          // HALT
          set_vehicle_motion(&leftmotors,&rightmotors,HALT);
          // Currently just move back to IDLE state
          if(front_sensor_triggered == false)
          {
            obj_detect_state = IDLE;
          } else
          {
            //keep previous rotation time for 90 to move back to
            uint16_t rot_time_prev = rot_time;
            rot_time = 200; //set small rotation time
            if(right_sensor_triggered)
            {
              // ROTATE LEFT
              veh_direction -= 1;
              set_vehicle_motion(&leftmotors,&rightmotors,ROTATE_LEFT);
            } else
            {
              // ROTATE RIGHT
              veh_direction += 1;
              set_vehicle_motion(&leftmotors,&rightmotors,ROTATE_RIGHT);
            }
            rot_time = rot_time_prev;
            obj_detect_state = OBJECT_SIDE;
          }
          AI_mutex = false;
          osDelay(300);
          break;
        case OBJECT_SIDE:
          if(front_sensor_triggered)
          {
            obj_detect_state = OBJECT_AHEAD;
            AI_mutex = false;
            osDelay(10);
          } else {
            set_vehicle_motion(&leftmotors,&rightmotors,MOVE_FORWARD);
            AI_mutex = false;
            osDelay(1000); //go forward for 1 seconds
            obj_detect_state = ORIENT_VEH;
          }
          break;
        case ORIENT_VEH:
          uint16_t rot_time_prev = rot_time;
          rot_time = 200; //set small rotation time
          // if we are pretty close to straight call it good
          if(veh_direction == 0)
          {
            obj_detect_state = IDLE;
          } else if(veh_direction < 0)
          {
            veh_direction += 1;
            set_vehicle_motion(&leftmotors,&rightmotors,ROTATE_RIGHT);
            obj_detect_state = OBJECT_SIDE;
          } else
          {
            veh_direction -= 1;
            set_vehicle_motion(&leftmotors,&rightmotors,ROTATE_LEFT);
            obj_detect_state = OBJECT_SIDE;
          }
          rot_time = rot_time_prev;
          AI_mutex = false;
          osDelay(300);
          break;
        default:
          AI_mutex = false;
          break;

      }
    }
  }
}

/************* MOTION UTILITIES ***********************************************/
/* Of all of these functions, only a few functions are of
 * particular interest and use. The rest are called within
 * these particular functions. The functions are:
 * - set_vehicle_motion()
 * - set_motor_speed()
*/

/** @brief Set the motor speed
  * @param motor_set: motors handle
  * @param new_pulse: Value to be assigned to output compare register. Must be
  *     less than/equal to TIM period
  * @retval none
 */
void set_motor_speed(motors * motor_set, uint16_t new_pulse)
//void set_motor_speed(TIM_HandleTypeDef *htim, uint32_t Channel,uint16_t pulse)
{
  // Check that pulse argument not greater than period
  if(new_pulse > motor_set->htim->Init.Period)
  {
    // do nothing or implement error handler
    return;
  }

  // set motor speed
  __HAL_TIM_SET_COMPARE(motor_set->htim,motor_set->motor_Channel,new_pulse);

  // Update motor struct
  motor_set->pulse = new_pulse;
}

/** @brief Halt motors
  * @param motor_set: motors handle
  *     *NOTE* only sets H-Bridge pins low. Pulse value is conserved
  * @retval none
 */
void halt_motors(motors * motor_set)
{
  // Set H_bridge pins all low
  HAL_GPIO_WritePin(motor_set->motors_GPIOx,motor_set->H1_GPIO_Pin,GPIO_PIN_RESET);
  HAL_GPIO_WritePin(motor_set->motors_GPIOx,motor_set->H2_GPIO_Pin,GPIO_PIN_RESET);

  // Update motor struct direction
  motor_set->motors_dir = HALTED;
}

/** @brief Set motors to forward motion
  * @param motor_set: motors handle
  * @retval none
 */
void forward_motors(motors * motor_set)
{
  // Set H-Bridge pins
  HAL_GPIO_WritePin(motor_set->motors_GPIOx,motor_set->H1_GPIO_Pin,GPIO_PIN_SET);
  HAL_GPIO_WritePin(motor_set->motors_GPIOx,motor_set->H2_GPIO_Pin,GPIO_PIN_RESET);

  // Update motor struct direction
  motor_set->motors_dir = FORWARD;
}

/** @brief Set motors to reverse motion
  * @param motor_set: motors handle
  * @retval none
 */
void reverse_motors(motors * motor_set)
{
  // Set H-Bridge pins
  HAL_GPIO_WritePin(motor_set->motors_GPIOx,motor_set->H1_GPIO_Pin,GPIO_PIN_RESET);
  HAL_GPIO_WritePin(motor_set->motors_GPIOx,motor_set->H2_GPIO_Pin,GPIO_PIN_SET);

  // Update motor struct direction
  motor_set->motors_dir = REVERSE;
}

/** @brief Set direction of motors
  * @param motor_set: motors handle
  * @param dir: direction of type enum
  * @retval none
 */
void set_motors_direction(motors * motor_set,direction dir)
{

  switch(dir){
    case FORWARD:
      forward_motors(motor_set);
      break;
    case REVERSE:
      reverse_motors(motor_set);
      break;
    case HALTED:
      halt_motors(motor_set);
      break;
    default:
      // halt anyways
      halt_motors(motor_set);
  }

}

/** @brief set the vehicles motion to forward
  * @param motors_set1: motors handle
  * @param motors_set2: motors handle
  * @retval none
 */
void forward_vehicle(motors * motors_set1, motors * motors_set2)
{
  // Set both sets of motors to forward motion
  set_motors_direction(motors_set1,FORWARD);
  set_motors_direction(motors_set2,FORWARD);

}

/** @brief set the vehicles motion to reverse
  * @param motors_set1: motors handle
  * @param motors_set2: motors handle
  * @retval none
 */
void reverse_vehicle(motors * motors_set1, motors * motors_set2)
{
  // Set both sets of motors to reverse motion
  set_motors_direction(motors_set1,REVERSE);
  set_motors_direction(motors_set2,REVERSE);
}

/** @brief halt the vehicles motion
  * @param motors_set1: motors handle
  * @param motors_set2: motors handle
  * @retval none
 */
void halt_vehicle(motors * motors_set1, motors * motors_set2)
{
  // Set both sets of motors to halt
  set_motors_direction(motors_set1,HALTED);
  set_motors_direction(motors_set2,HALTED);
}

/** @brief set the vehicles motion to rotate ("steering")
  * @param motors_set1: motors handle
  * @param motors_set2: motors handle
  * @retval none
 */
void rotate_right_vehicle(motors * motors_set1, motors * motors_set2)
{
  // Save previous motor speed first to restore after rotating
  uint16_t prev_motor_speed1 = motors_set1->pulse;
  uint16_t prev_motor_speed2 = motors_set2->pulse;

  set_motor_speed(motors_set1,default_rot_pulse);
  set_motor_speed(motors_set2,default_rot_pulse);

  // Set sets of motors to opposite directions
  set_motors_direction(motors_set1,REVERSE);
  set_motors_direction(motors_set2,FORWARD);

  // Run for set time resulting in 90 deg turn
  osDelay(rot_time);

  // Halt motors
  set_motors_direction(motors_set1,HALTED);
  set_motors_direction(motors_set2,HALTED);

  // Restore initial motor speed
  set_motor_speed(motors_set1,prev_motor_speed1);
  set_motor_speed(motors_set2,prev_motor_speed2);
}

/** @brief set the vehicles motion to rotate ("steering")
  * @param motors_set1: motors handle
  * @param motors_set2: motors handle
  * @retval none
 */
void rotate_left_vehicle(motors * motors_set1, motors * motors_set2)
{
  // Save previous motor speed first to restore after rotating
  uint16_t prev_motor_speed1 = motors_set1->pulse;
  uint16_t prev_motor_speed2 = motors_set2->pulse;

  set_motor_speed(motors_set1,default_rot_pulse);
  set_motor_speed(motors_set2,default_rot_pulse);

  // Set sets of motors to opposite directions
  set_motors_direction(motors_set1,FORWARD);
  set_motors_direction(motors_set2,REVERSE);

  // Run for set time resulting in 90 deg turn
  osDelay(rot_time);

  // Halt motors
  set_motors_direction(motors_set1,HALTED);
  set_motors_direction(motors_set2,HALTED);

  // Restore initial motor speed
  set_motor_speed(motors_set1,prev_motor_speed1);
  set_motor_speed(motors_set2,prev_motor_speed2);
}

/** @brief set the vehicles motion wrapper function
  * @param motors_set1: motors handle
  * @param motors_set2: motors handle
  * @param dir: The desired motion
  * @retval none
  * @note rotate commands have a default speed already set. However, if using
  *     other commands like forward or reverse then its necessary to assign
  *     the speed either directly with set_vehicle_speed() or with the enums
  *     type 'vehicle_speed' which will go through a PID control algorithm
 */
void set_vehicle_motion(motors * motors_set1, motors * motors_set2, vehicle_direction dir)
{

  switch(dir)
  {
    case INVALID_COMMAND:
      // do nothing
      break;
    case MOVE_FORWARD:
      forward_vehicle(motors_set1,motors_set2);
      break;
    case MOVE_REVERSE:
      reverse_vehicle(motors_set1,motors_set2);
      break;
    case ROTATE_RIGHT:
      rotate_right_vehicle(motors_set1,motors_set2);
      break;
    case ROTATE_LEFT:
      rotate_left_vehicle(motors_set1,motors_set2);
      break;
    case U_TURN:
      rotate_right_vehicle(motors_set1,motors_set2);
      rotate_right_vehicle(motors_set1,motors_set2);
      break;
    case HALT:
      halt_vehicle(motors_set1,motors_set2);
      break;
    default:
      halt_vehicle(motors_set1, motors_set2);
  }
}

/**
  * @brief Sets the vehicle speed with the PWM pulse value for use with PID control
  * @param motors_set1: handle of left motor set struct
  * @param motors_set2: handle of right motor set struct
  * @param pulse: new pulse value to assign to pwm timer compare counter register
  *             which must be <= timer period
 */
void set_vehicle_speed(motors * motors_set1, motors * motors_set2, uint16_t pulse)
{
  set_motor_speed(motors_set1, pulse);
  set_motor_speed(motors_set2, pulse);
}

/************* CONTROL UTILITIES ***********************************************/

/** Computes the PID values with the supplied gain values
  * @param REF_Val; the setpoint aka desired value of the system in rad/sec
  * @param MEA_Val; the sample (measured) value from a sensor in rad/sec
  * @param gain_arr[]; an array that hold the gain values in order Kff,P,I,D
  * @param sample_delta; the sampling rate of the sensor
  * @retval a PID value to adjust the control input
 */
float PID_controller(float REF_Val, float MEA_Val, float gain_arr[],
                     float * I_error, float MEA_Val_previous, float sample_delta)
{
  float error = REF_Val - MEA_Val;

  float P = gain_arr[1] * error;
  float I = gain_arr[2] * ((*I_error) + (error * sample_delta));
  float D = gain_arr[3] * (MEA_Val - (MEA_Val_previous)) / sample_delta;

  *I_error = I;

  return P + I - D;
}

/** A saturation filter for the controller. This is meant to ensure that
  * the control input value does not surpass some sort of user defined limit. In this case,
  * the limit is a physical limit on the voltage output of the motor driver board.
  * @param u; control input value to be filtered
  * @param u_sat[]; an array of 1x2 holding the upper/lower limits
  * @retval the filtered control input value
*/
float controller_Saturation(float u, float u_sat[])
{
  (u < u_sat[0]) ? (u = 0.0) : \
    ((u > u_sat[1]) ? (u = u_sat[1]) : (u = u));
  return u;
}

/** Compute the duty for the PWM signal to the motor driver board
  * @param u; control input
  * @param voltage_range[]; 1x2 array with [MIN,MAX] voltage output of motor driver board
  *     -Note- MAX val must be >= u_sat(max)
  * @param motors_set: pointer to struct of type motors
  * @retval none
*/
void set_motorDuty(float u, float voltage_range[], motors * motors_set)
{
  /* Compute duty cycle using control input signal and
      linear relationship of driver board voltage range output */
  uint16_t duty = (uint16_t)((u * 100) / (voltage_range[1] - voltage_range[0]));

  /* Compute pulse value */
  uint32_t tim_period = motors_set->htim->Init.Period;
  uint32_t pulse = (((tim_period + 1) * duty) / 100) - 1;

  set_motor_speed(motors_set,pulse);
}

/** Sets up the post processing of data obtained from Input Capture and DMA
  * @param htim: timer handle which is set up for input capture
  * @note this function is not explicitly called by user. its called automatically
  *     by the DMA after it has stored the data in memory
  * @note reference:
  * https://github.com/controllerstech/STM32/blob/master/INPUT%20CAPTURE%20DMA/F446/main.c
 */
void HAL_TIM_IC_CaptureCallback(TIM_HandleTypeDef *htim)
{

  // If the Interrupt is triggered by 2nd Channel
  if (htim->Channel == HAL_TIM_ACTIVE_CHANNEL_2){
    rightriseCaptured = 1;
  }

  // If the Interrupt is triggered by 4th Channel
//  if (htim->Channel == HAL_TIM_ACTIVE_CHANNEL_4){
//     leftriseCaptured = 1;
//  }

  /* Rest of the calculations will be done,
   * once both the DMAs have finished capturing enough data */
  if(rightriseCaptured)
  {
    // calculate the reference clock
    float refClock = TIMCLOCK/(PSCALAR+1);

    uint16_t indxr = 0;

    uint16_t countr = 0;

    float rightriseavg = 0.0;

    /* start adding the values to the riseavg */
    while (indxr < (numval-1))
    {

      if( (riseData[indxr] > riseData[indxr+1]) && (indxr <= (numval-3))){
        indxr += 2;
      }

      rightriseavg += (riseData[indxr+1] - riseData[indxr]);
      countr++;
      indxr += 2;
    }

    /* Find the average riseavg, the average time between the rising edges */
    rightriseavg = rightriseavg/countr;
    right_encoder_risetime = rightriseavg/refClock;

    /* Calculate Frequency
     * Freq = Clock/(time taken between 2 Rise)
     */
    right_frequency = (refClock/(float)rightriseavg);

    rightriseCaptured = 0;

    isMeasured = 1;
  }

  // Left encoder sensor currently not working. Uncomment once fixed.

//  if(leftriseCaptured)
//  {
//
//    // calculate the reference clock
//    float refClock = TIMCLOCK/(PSCALAR+1);
//
//    uint16_t indxl = 0;
//
//    uint16_t countl = 0;
//
//    float leftriseavg = 0.0;
//
//    /* start adding the values to the riseavg */
//    while (indxl < (numval-1))
//    {
//
//      if( (left_riseData[indxl] > left_riseData[indxl+1]) && (indxl <= (numval-3))){
//        indxl += 2;
//      }
//
//      leftriseavg += (left_riseData[indxl+1] - left_riseData[indxl]);
//      countl++;
//      indxl += 2;
//    }
//
//    /* Find the average riseavg, the average time between the rising edges */
//    leftriseavg = leftriseavg/countl;
//    left_encoder_risetime = leftriseavg/refClock;
//
//    /* Calculate Frequency
//     * Freq = Clock/(time taken between 2 Rise)
//     */
//    left_frequency = (refClock/(float)leftriseavg);
//
//    leftriseCaptured = 0;
//
//    isMeasured = 1;
//  }
}

/**
  * "Reads" the photoelectric encoder sensors. The actual reading is done
  * by the input capture timers, DMA transfers, and callback functions.
  * @param left: pointer to float variable to store angular velocity (rad/sec) of left encoder
  * @param right: pointer to float variable to store angular velocity (rad/sec) of right encoder
  * @retval none
 */
void read_EncoderSensors(float * left, float * right)
{
  uint8_t encoder_windows = 20;
  float twopi_rad = 2 * 3.1416;
  float edge_edge_rad = twopi_rad / encoder_windows;

  if((rightmotors.motors_dir != HALTED) && (leftmotors.motors_dir != HALTED) \
    && (right_encoder_risetime < 1000) && (left_encoder_risetime < 1000)){
  //*left = edge_edge_rad / left_encoder_risetime;
  *right = edge_edge_rad / right_encoder_risetime;
  //*right = 0.314159 / (right_encoder_risetime);
  }
  else {
    *left = 0.0;
    *right = 0.0;
  }
}

/************* MISCEL. UTILITIES ***********************************************/

/**
  * Creates a flashing LED sequence
  * @param color:  type enum
  *     RED
  *     GREEN
  *     ORANGE
  * @param pulses: number of times you want the led to turn on
  * @param delay: how long to wait before led turns back on in ms
 */
void leds_flash(led_color color, uint32_t pulses, uint32_t delay){

  // ON duration of led
  uint16_t led_delay = 100;

  switch(color){
  case RED:
    for(uint16_t i = 0;i < pulses; i++){
      HAL_GPIO_WritePin(GPIOD,RED_LED_Pin,GPIO_PIN_SET);
      osDelay(led_delay);
      HAL_GPIO_WritePin(GPIOD,RED_LED_Pin,GPIO_PIN_RESET);
      osDelay(delay);
    }
    break;
  case GREEN:
    for(uint16_t i = 0;i < pulses; i++){
      HAL_GPIO_WritePin(GPIOD,GREEN_LED_Pin,GPIO_PIN_SET);
      osDelay(led_delay);
      HAL_GPIO_WritePin(GPIOD,GREEN_LED_Pin,GPIO_PIN_RESET);
      osDelay(delay);
    }
    break;
  case ORANGE:
    for(uint16_t i = 0;i < pulses; i++){
      HAL_GPIO_WritePin(GPIOD,ORANGE_LED_Pin,GPIO_PIN_SET);
      osDelay(led_delay);
      HAL_GPIO_WritePin(GPIOD,ORANGE_LED_Pin,GPIO_PIN_RESET);
      osDelay(delay);
    }
    break;

  }
}

void HAL_UART_RxCpltCallback(UART_HandleTypeDef *huart)
{
  if(HAL_UART_Receive_IT(&huart2, data_receive, 12) == HAL_OK){
    VCmessage_received = true;
  }
}

/* USER CODE END Application */
